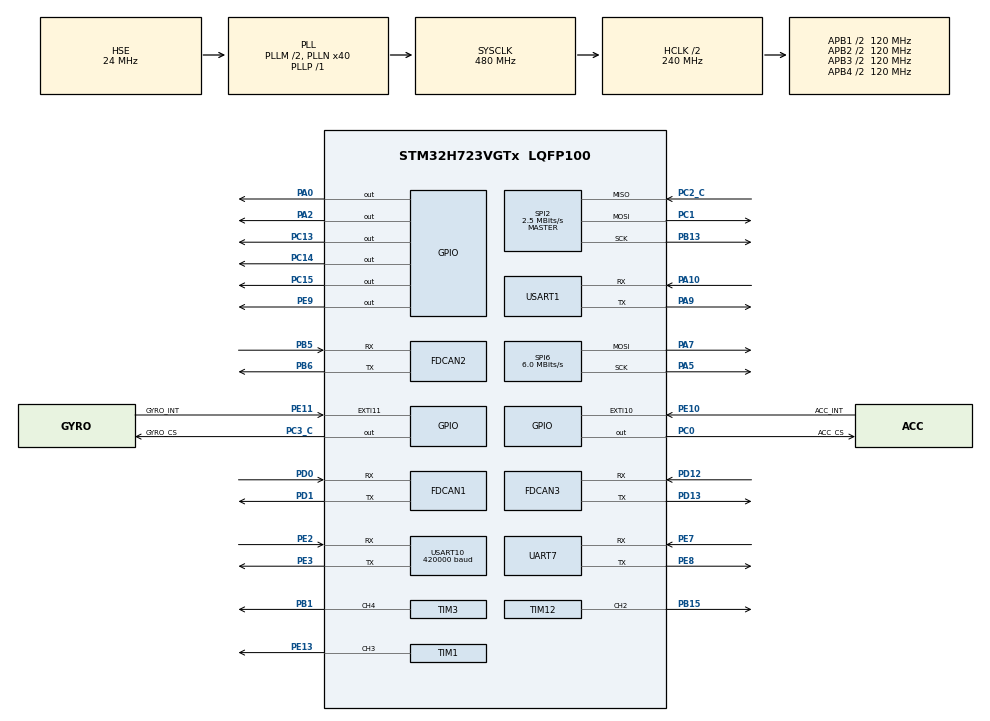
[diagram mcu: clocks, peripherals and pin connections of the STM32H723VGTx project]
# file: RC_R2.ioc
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CORTEX_M7.default_mode_Activation=1
Dma.Request0=USART10_RX
Dma.Request1=SPI2_RX
Dma.Request2=SPI2_TX
Dma.SPI2_RX.1.Direction=DMA_PERIPH_TO_MEMORY
Dma.SPI2_RX.1.EventEnable=DISABLE
Dma.SPI2_RX.1.FIFOMode=DMA_FIFOMODE_DISABLE
Dma.SPI2_RX.1.Instance=DMA1_Stream1
Dma.SPI2_RX.1.MemDataAlignment=DMA_MDATAALIGN_BYTE
Dma.SPI2_RX.1.MemInc=DMA_MINC_ENABLE
Dma.SPI2_RX.1.Mode=DMA_NORMAL
Dma.SPI2_RX.1.PeriphDataAlignment=DMA_PDATAALIGN_BYTE
Dma.SPI2_RX.1.PeriphInc=DMA_PINC_DISABLE
Dma.SPI2_RX.1.Polarity=HAL_DMAMUX_REQ_GEN_RISING
Dma.SPI2_RX.1.Priority=DMA_PRIORITY_HIGH
Dma.SPI2_RX.1.RequestNumber=1
Dma.SPI2_RX.1.SignalID=NONE
Dma.SPI2_RX.1.SyncEnable=DISABLE
Dma.SPI2_RX.1.SyncPolarity=HAL_DMAMUX_SYNC_NO_EVENT
Dma.SPI2_RX.1.SyncRequestNumber=1
Dma.SPI2_RX.1.SyncSignalID=NONE
Dma.SPI2_TX.2.Direction=DMA_MEMORY_TO_PERIPH
Dma.SPI2_TX.2.EventEnable=DISABLE
Dma.SPI2_TX.2.FIFOMode=DMA_FIFOMODE_DISABLE
Dma.SPI2_TX.2.Instance=DMA1_Stream2
Dma.SPI2_TX.2.MemDataAlignment=DMA_MDATAALIGN_BYTE
Dma.SPI2_TX.2.MemInc=DMA_MINC_ENABLE
Dma.SPI2_TX.2.Mode=DMA_NORMAL
Dma.SPI2_TX.2.PeriphDataAlignment=DMA_PDATAALIGN_BYTE
Dma.SPI2_TX.2.PeriphInc=DMA_PINC_DISABLE
Dma.SPI2_TX.2.Polarity=HAL_DMAMUX_REQ_GEN_RISING
Dma.SPI2_TX.2.Priority=DMA_PRIORITY_VERY_HIGH
Dma.SPI2_TX.2.RequestNumber=1
Dma.SPI2_TX.2.SignalID=NONE
Dma.SPI2_TX.2.SyncEnable=DISABLE
Dma.SPI2_TX.2.SyncPolarity=HAL_DMAMUX_SYNC_NO_EVENT
Dma.SPI2_TX.2.SyncRequestNumber=1
Dma.SPI2_TX.2.SyncSignalID=NONE
Dma.USART10_RX.0.Direction=DMA_PERIPH_TO_MEMORY
Dma.USART10_RX.0.EventEnable=DISABLE
Dma.USART10_RX.0.FIFOMode=DMA_FIFOMODE_DISABLE
Dma.USART10_RX.0.Instance=DMA1_Stream0
Dma.USART10_RX.0.MemDataAlignment=DMA_MDATAALIGN_BYTE
Dma.USART10_RX.0.MemInc=DMA_MINC_ENABLE
Dma.USART10_RX.0.Mode=DMA_NORMAL
Dma.USART10_RX.0.PeriphDataAlignment=DMA_PDATAALIGN_BYTE
Dma.USART10_RX.0.PeriphInc=DMA_PINC_DISABLE
Dma.USART10_RX.0.Polarity=HAL_DMAMUX_REQ_GEN_RISING
Dma.USART10_RX.0.Priority=DMA_PRIORITY_HIGH
Dma.USART10_RX.0.RequestNumber=1
Dma.USART10_RX.0.SignalID=NONE
Dma.USART10_RX.0.SyncEnable=DISABLE
Dma.USART10_RX.0.SyncPolarity=HAL_DMAMUX_SYNC_NO_EVENT
Dma.USART10_RX.0.SyncRequestNumber=1
Dma.USART10_RX.0.SyncSignalID=NONE
FDCAN1.CalculateBaudRateNominal=1000000
FDCAN1.CalculateTimeBitNominal=1000
FDCAN1.CalculateTimeQuantumNominal=25.0
FDCAN1.DataPrescaler=1
FDCAN1.DataSyncJumpWidth=2
FDCAN1.DataTimeSeg1=13
FDCAN1.DataTimeSeg2=2
FDCAN1.ExtFiltersNbr=4
FDCAN1.FrameFormat=FDCAN_FRAME_FD_BRS
FDCAN1.NominalPrescaler=3
FDCAN1.NominalSyncJumpWidth=20
FDCAN1.NominalTimeSeg1=29
FDCAN1.NominalTimeSeg2=10
FDCAN1.ProtocolException=ENABLE
FDCAN1.RxBuffersNbr=2
FDCAN1.RxFifo0ElmtsNbr=10
FDCAN1.RxFifo1ElmtsNbr=10
FDCAN1.StdFiltersNbr=4
FDCAN1.TxBuffersNbr=10
FDCAN1.TxEventsNbr=10
FDCAN1.TxFifoQueueElmtsNbr=10
FDCAN2.CalculateBaudRateNominal=1000000
FDCAN2.CalculateTimeBitNominal=1000
FDCAN2.CalculateTimeQuantumNominal=25.0
FDCAN2.DataPrescaler=1
FDCAN2.DataSyncJumpWidth=2
FDCAN2.DataTimeSeg1=13
FDCAN2.DataTimeSeg2=2
FDCAN2.ExtFiltersNbr=4
FDCAN2.FrameFormat=FDCAN_FRAME_FD_BRS
FDCAN2.MessageRAMOffset=853
FDCAN2.NominalPrescaler=3
FDCAN2.NominalSyncJumpWidth=20
FDCAN2.NominalTimeSeg1=29
FDCAN2.NominalTimeSeg2=10
FDCAN2.ProtocolException=ENABLE
FDCAN2.RxBuffersNbr=2
FDCAN2.RxFifo0ElmtsNbr=10
FDCAN2.RxFifo1ElmtsNbr=10
FDCAN2.StdFiltersNbr=4
FDCAN2.TxBuffersNbr=10
FDCAN2.TxEventsNbr=10
FDCAN2.TxFifoQueueElmtsNbr=10
FDCAN3.AutoRetransmission=ENABLE
FDCAN3.CalculateBaudRateNominal=1000000
FDCAN3.CalculateTimeBitNominal=1000
FDCAN3.CalculateTimeQuantumNominal=25.0
FDCAN3.DataPrescaler=3
FDCAN3.DataSyncJumpWidth=10
FDCAN3.DataTimeSeg1=29
FDCAN3.DataTimeSeg2=10
FDCAN3.MessageRAMOffset=1706
FDCAN3.NominalPrescaler=3
FDCAN3.NominalSyncJumpWidth=10
FDCAN3.NominalTimeSeg1=29
FDCAN3.NominalTimeSeg2=10
FDCAN3.RxFifo0ElmtsNbr=16
FDCAN3.StdFiltersNbr=1
FDCAN3.TxFifoQueueElmtsNbr=32
Mcu.Family=STM32H7
Mcu.Name=STM32H723VGTx
Mcu.Package=LQFP100
NVIC.DMA1_Stream0_IRQn=true\:1\:0\:true\:false\:true\:false\:true\:true
NVIC.DMA1_Stream1_IRQn=true\:2\:0\:true\:false\:true\:false\:true\:true
NVIC.DMA1_Stream2_IRQn=true\:0\:0\:false\:false\:true\:false\:true\:true
NVIC.FDCAN1_IT0_IRQn=true\:0\:0\:false\:false\:true\:true\:true\:true
NVIC.FDCAN1_IT1_IRQn=true\:0\:0\:false\:false\:true\:true\:true\:true
NVIC.FDCAN2_IT0_IRQn=true\:0\:0\:false\:false\:true\:true\:true\:true
NVIC.FDCAN2_IT1_IRQn=true\:0\:0\:false\:false\:true\:true\:true\:true
NVIC.FDCAN3_IT0_IRQn=true\:0\:0\:false\:false\:true\:true\:true\:true
NVIC.FDCAN3_IT1_IRQn=true\:0\:0\:false\:false\:true\:true\:true\:true
NVIC.FDCAN_CAL_IRQn=true\:0\:0\:false\:false\:true\:true\:true\:true
NVIC.PriorityGroup=NVIC_PRIORITYGROUP_4
NVIC.SPI2_IRQn=true\:5\:0\:true\:false\:true\:false\:true\:true
NVIC.UART7_IRQn=true\:0\:0\:false\:false\:true\:true\:true\:true
NVIC.USART10_IRQn=true\:0\:0\:false\:false\:true\:true\:true\:true
NVIC.USART1_IRQn=true\:0\:0\:false\:false\:true\:true\:true\:true
PA0.GPIO_PuPd=GPIO_PULLDOWN
PA0.Signal=GPIO_Output
PA10.Mode=Asynchronous
PA10.Signal=USART1_RX
PA13(JTMS/SWDIO).Mode=Serial_Wire
PA13(JTMS/SWDIO).Signal=DEBUG_JTMS-SWDIO
PA14(JTCK/SWCLK).Mode=Serial_Wire
PA14(JTCK/SWCLK).Signal=DEBUG_JTCK-SWCLK
PA2.Signal=GPIO_Output
PA5.Mode=TX_Only_Simplex_Unidirect_Master
PA5.Signal=SPI6_SCK
PA7.Mode=TX_Only_Simplex_Unidirect_Master
PA7.Signal=SPI6_MOSI
PA9.Mode=Asynchronous
PA9.Signal=USART1_TX
PB1.Signal=S_TIM3_CH4
PB13.Mode=Full_Duplex_Master
PB13.Signal=SPI2_SCK
PB15.Signal=S_TIM12_CH2
PB5.Mode=FDCAN_Activate
PB5.Signal=FDCAN2_RX
PB6.Mode=FDCAN_Activate
PB6.Signal=FDCAN2_TX
PC0.GPIO_Label=ACC_CS
PC0.GPIO_Speed=GPIO_SPEED_FREQ_VERY_HIGH
PC0.PinState=GPIO_PIN_SET
PC0.Signal=GPIO_Output
PC1.Mode=Full_Duplex_Master
PC1.Signal=SPI2_MOSI
PC13.PinState=GPIO_PIN_SET
PC13.Signal=GPIO_Output
PC14-OSC32_IN.PinState=GPIO_PIN_SET
PC14-OSC32_IN.Signal=GPIO_Output
PC15-OSC32_OUT.PinState=GPIO_PIN_SET
PC15-OSC32_OUT.Signal=GPIO_Output
PC2_C.Mode=Full_Duplex_Master
PC2_C.Signal=SPI2_MISO
PC3_C.GPIO_Label=GYRO_CS
PC3_C.GPIO_Speed=GPIO_SPEED_FREQ_VERY_HIGH
PC3_C.PinState=GPIO_PIN_SET
PC3_C.Signal=GPIO_Output
PD0.Mode=FDCAN_Activate
PD0.Signal=FDCAN1_RX
PD1.Mode=FDCAN_Activate
PD1.Signal=FDCAN1_TX
PD12.Mode=FDCAN_Activate
PD12.Signal=FDCAN3_RX
PD13.Mode=FDCAN_Activate
PD13.Signal=FDCAN3_TX
PE10.GPIO_Label=ACC_INT
PE10.Signal=GPXTI10
PE11.GPIO_Label=GYRO_INT
PE11.Signal=GPXTI11
PE13.Signal=S_TIM1_CH3
PE2.Mode=Asynchronous
PE2.Signal=USART10_RX
PE3.Mode=Asynchronous
PE3.Signal=USART10_TX
PE7.Mode=Asynchronous
PE7.Signal=UART7_RX
PE8.Mode=Asynchronous
PE8.Signal=UART7_TX
PE9.GPIO_PuPd=GPIO_PULLDOWN
PE9.GPIO_Speed=GPIO_SPEED_FREQ_HIGH
PE9.PinState=GPIO_PIN_RESET
PE9.Signal=GPIO_Output
PH0-OSC_IN.Mode=HSE-External-Oscillator
PH0-OSC_IN.Signal=RCC_OSC_IN
PH1-OSC_OUT.Mode=HSE-External-Oscillator
PH1-OSC_OUT.Signal=RCC_OSC_OUT
ProjectManager.HeapSize=0x200
ProjectManager.StackSize=0x400
ProjectManager.TargetToolchain=CMake
RCC.ADCFreq_Value=100000000
RCC.APB1Freq_Value=120000000
RCC.APB2Freq_Value=120000000
RCC.APB3Freq_Value=120000000
RCC.APB4Freq_Value=120000000
RCC.CortexFreq_Value=480000000
RCC.D1PPRE=RCC_APB3_DIV2
RCC.D2PPRE1=RCC_APB1_DIV2
RCC.D2PPRE2=RCC_APB2_DIV2
RCC.D3PPRE=RCC_APB4_DIV2
RCC.DIVM1=2
RCC.DIVM2=12
RCC.DIVM3=24
RCC.DIVN1=40
RCC.DIVN2=100
RCC.DIVN3=160
RCC.DIVP1=1
RCC.DIVQ1=4
RCC.HCLKFreq_Value=240000000
RCC.HPRE=RCC_HCLK_DIV2
RCC.HSE_VALUE=24000000
RCC.PLL2FRACN=0
RCC.PLL3FRACN=0
RCC.PLLFRACN=0
RCC.PLLSourceVirtual=RCC_PLLSOURCE_HSE
RCC.SPI123CLockSelection=RCC_SPI123CLKSOURCE_PLL3
RCC.SPI6CLockSelection=RCC_SPI6CLKSOURCE_HSE
RCC.SYSCLKFreq_VALUE=480000000
RCC.SYSCLKSource=RCC_SYSCLKSOURCE_PLLCLK
RCC.USBFreq_Value=120000000
SH.S_TIM12_CH2.0=TIM12_CH2,PWM Generation2 CH2
SH.S_TIM1_CH3.0=TIM1_CH3,PWM Generation3 CH3
SH.S_TIM3_CH4.0=TIM3_CH4,PWM Generation4 CH4
SPI2.BaudRatePrescaler=SPI_BAUDRATEPRESCALER_32
SPI2.CLKPhase=SPI_PHASE_2EDGE
SPI2.CLKPolarity=SPI_POLARITY_HIGH
SPI2.CalculateBaudRate=2.5 MBits/s
SPI2.DataSize=SPI_DATASIZE_8BIT
SPI2.Direction=SPI_DIRECTION_2LINES
SPI2.Mode=SPI_MODE_MASTER
SPI2.VirtualType=VM_MASTER
SPI6.BaudRatePrescaler=SPI_BAUDRATEPRESCALER_4
SPI6.CLKPhase=SPI_PHASE_2EDGE
SPI6.CalculateBaudRate=6.0 MBits/s
SPI6.DataSize=SPI_DATASIZE_8BIT
SPI6.Direction=SPI_DIRECTION_2LINES_TXONLY
SPI6.Mode=SPI_MODE_MASTER
SPI6.VirtualType=VM_MASTER
STMicroelectronics.X-CUBE-ALGOBUILD.1.4.0.LibraryCcDSPOoLibraryJjDSPOoLibrary=true
TIM1.AutoReloadPreload=TIM_AUTORELOAD_PRELOAD_ENABLE
TIM1.Channel-PWM\ Generation3\ CH3=TIM_CHANNEL_3
TIM1.Period=20000-1
TIM1.Prescaler=240-1
TIM12.AutoReloadPreload=TIM_AUTORELOAD_PRELOAD_ENABLE
TIM12.Channel-PWM\ Generation2\ CH2=TIM_CHANNEL_2
TIM12.Period=2000-1
TIM12.Prescaler=6000-1
TIM3.AutoReloadPreload=TIM_AUTORELOAD_PRELOAD_ENABLE
TIM3.Channel-PWM\ Generation4\ CH4=TIM_CHANNEL_4
TIM3.Period=10000-1
TIM3.Prescaler=24-1
USART1.VirtualMode-Asynchronous=VM_ASYNC
USART10.BaudRate=420000
USART10.VirtualMode=VM_ASYNC
VP_MEMORYMAP_VS_MEMORYMAP.Mode=CurAppReg
VP_STMicroelectronics.X-CUBE-ALGOBUILD_VS_DSPOoLibraryJjLibrary_1.4.0_1.4.0.Mode=DSPOoLibraryJjLibrary
VP_TIM1_VS_ClockSourceINT.Mode=Internal
board=custom

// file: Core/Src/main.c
/* USER CODE BEGIN Header */
/**
  ******************************************************************************
  * @file           : main.c
  * @brief          : Main program body
  ******************************************************************************
  * @attention
  *
  * Copyright (c) 2026 STMicroelectronics.
  * All rights reserved.
  *
  * This software is licensed under terms that can be found in the LICENSE file
  * in the root directory of this software component.
  * If no LICENSE file comes with this software, it is provided AS-IS.
  *
  ******************************************************************************
  */
/* USER CODE END Header */
#include "main.h"
#include "dma.h"
#include "fdcan.h"
#include "spi.h"
#include "tim.h"
#include "usart.h"
#include "gpio.h"

/* USER CODE BEGIN Includes */
#include "DJI_Motor.h"
#include "serial.h"
#include "elrs.h"
#include "bsp_fdcan.h"
#include "chassis.h"
#include "Arm.h"
#include "dm_motor_ctrl.h"
#include "ws2812.h"
/* USER CODE END Includes */

void SystemClock_Config(void);
static void MPU_Config(void);

int main(void)
{

  /* MPU Configuration--------------------------------------------------------*/
  MPU_Config();

  /* MCU Configuration--------------------------------------------------------*/

  /* Reset of all peripherals, Initializes the Flash interface and the Systick. */
  HAL_Init();

  /* Configure the system clock */
  SystemClock_Config();

  /* Initialize all configured peripherals */
  MX_GPIO_Init();
  MX_DMA_Init();
  MX_USART10_UART_Init();
  MX_FDCAN1_Init();
  MX_USART1_UART_Init();
  MX_FDCAN2_Init();
  MX_FDCAN3_Init();
  MX_SPI2_Init();
  MX_TIM3_Init();
  MX_TIM12_Init();
  MX_SPI6_Init();
  MX_TIM1_Init();
  MX_UART7_Init();
  /* USER CODE BEGIN 2 */
  Serial_Init();
  bsp_fdcan_set_baud(&hfdcan1, CAN_CLASS, CAN_BR_1M);
  bsp_fdcan_set_baud(&hfdcan2, CAN_CLASS, CAN_BR_1M);
  bsp_fdcan_set_baud(&hfdcan3, CAN_CLASS, CAN_BR_1M);
  bsp_can_init(&hfdcan1);
  bsp_can_init(&hfdcan2);
  bsp_can_init(&hfdcan3);

  DJI_Motor_Init();
  ELRS_Init();
  Arm_Init();
  Chassis_Init(&Chassis);
  /* USER CODE END 2 */

  /* Infinite loop */
  /* USER CODE BEGIN WHILE */

  //RGB控制
  WS2812_Ctrl(3, 4, 5);

  while (1)
  {
    Arm_Task(remoter.key.SA, remoter.joy.l_x, -remoter.var.S1*0.0314,-remoter.var.S2*0.0628,remoter.joy.r_x*0.0157);
    //mit_ctrl(motor[Motor2].hcan, &motor[Motor2], motor[Motor2].id,remoter.var.S1*0.0314,0,9,2,0);
    //pos_ctrl(motor[Motor2].hcan, motor[Motor2].id,3.14,1);
    //spd_ctrl(motor[Motor2].hcan, motor[Motor2].id,2);
    //DJI_Motor_SendCurrent_Ex(&hfdcan1, MOTOR_2006_GROUP2, 500, 0, 0, 0);
    //Serial_Printf("%d,%f\n", motor_feedback[MOTOR_2006_ID5_INDEX].loop / 36,motor_feedback[MOTOR_2006_ID5_INDEX].angle);
    //Serial_Printf("%f,%f\n", target_speed, actual_speed);//2006
    Chassis_Task(&Chassis,remoter.key.SA,remoter.joy.l_x,remoter.joy.l_y,remoter.joy.r_y,remoter.key.SE);
    HAL_Delay(10);
    //DJI_Motor_SendCurrent_Ex(&hfdcan1,MOTOR_3508_GROUP1, 0, 0, 0, 0);
    /* USER CODE END WHILE */

  }
}

void SystemClock_Config(void)
{
  RCC_OscInitTypeDef RCC_OscInitStruct = {0};
  RCC_ClkInitTypeDef RCC_ClkInitStruct = {0};

  /** Supply configuration update enable
  */
  HAL_PWREx_ConfigSupply(PWR_LDO_SUPPLY);

  /** Configure the main internal regulator output voltage
  */
  __HAL_PWR_VOLTAGESCALING_CONFIG(PWR_REGULATOR_VOLTAGE_SCALE0);

  while(!__HAL_PWR_GET_FLAG(PWR_FLAG_VOSRDY)) {}

  /** Initializes the RCC Oscillators according to the specified parameters
  * in the RCC_OscInitTypeDef structure.
  */
  RCC_OscInitStruct.OscillatorType = RCC_OSCILLATORTYPE_HSE;
  RCC_OscInitStruct.HSEState = RCC_HSE_ON;
  RCC_OscInitStruct.PLL.PLLState = RCC_PLL_ON;
  RCC_OscInitStruct.PLL.PLLSource = RCC_PLLSOURCE_HSE;
  RCC_OscInitStruct.PLL.PLLM = 2;
  RCC_OscInitStruct.PLL.PLLN = 40;
  RCC_OscInitStruct.PLL.PLLP = 1;
  RCC_OscInitStruct.PLL.PLLQ = 4;
  RCC_OscInitStruct.PLL.PLLR = 2;
  RCC_OscInitStruct.PLL.PLLRGE = RCC_PLL1VCIRANGE_3;
  RCC_OscInitStruct.PLL.PLLVCOSEL = RCC_PLL1VCOWIDE;
  RCC_OscInitStruct.PLL.PLLFRACN = 0;
  if (HAL_RCC_OscConfig(&RCC_OscInitStruct) != HAL_OK)
  {
    Error_Handler();
  }

  /** Initializes the CPU, AHB and APB buses clocks
  */
  RCC_ClkInitStruct.ClockType = RCC_CLOCKTYPE_HCLK|RCC_CLOCKTYPE_SYSCLK
                              |RCC_CLOCKTYPE_PCLK1|RCC_CLOCKTYPE_PCLK2
                              |RCC_CLOCKTYPE_D3PCLK1|RCC_CLOCKTYPE_D1PCLK1;
  RCC_ClkInitStruct.SYSCLKSource = RCC_SYSCLKSOURCE_PLLCLK;
  RCC_ClkInitStruct.SYSCLKDivider = RCC_SYSCLK_DIV1;
  RCC_ClkInitStruct.AHBCLKDivider = RCC_HCLK_DIV2;
  RCC_ClkInitStruct.APB3CLKDivider = RCC_APB3_DIV2;
  RCC_ClkInitStruct.APB1CLKDivider = RCC_APB1_DIV2;
  RCC_ClkInitStruct.APB2CLKDivider = RCC_APB2_DIV2;
  RCC_ClkInitStruct.APB4CLKDivider = RCC_APB4_DIV2;

  if (HAL_RCC_ClockConfig(&RCC_ClkInitStruct, FLASH_LATENCY_3) != HAL_OK)
  {
    Error_Handler();
  }
}

 /* MPU Configuration */

void MPU_Config(void)
{
  MPU_Region_InitTypeDef MPU_InitStruct = {0};

  /* Disables the MPU */
  HAL_MPU_Disable();

  /** Initializes and configures the Region and the memory to be protected
  */
  MPU_InitStruct.Enable = MPU_REGION_ENABLE;
  MPU_InitStruct.Number = MPU_REGION_NUMBER0;
  MPU_InitStruct.BaseAddress = 0x0;
  MPU_InitStruct.Size = MPU_REGION_SIZE_4GB;
  MPU_InitStruct.SubRegionDisable = 0x87;
  MPU_InitStruct.TypeExtField = MPU_TEX_LEVEL0;
  MPU_InitStruct.AccessPermission = MPU_REGION_NO_ACCESS;
  MPU_InitStruct.DisableExec = MPU_INSTRUCTION_ACCESS_DISABLE;
  MPU_InitStruct.IsShareable = MPU_ACCESS_SHAREABLE;
  MPU_InitStruct.IsCacheable = MPU_ACCESS_NOT_CACHEABLE;
  MPU_InitStruct.IsBufferable = MPU_ACCESS_NOT_BUFFERABLE;

  HAL_MPU_ConfigRegion(&MPU_InitStruct);
  /* Enables the MPU */
  HAL_MPU_Enable(MPU_PRIVILEGED_DEFAULT);

}

void Error_Handler(void)
{
  __disable_irq();
  while (1)
  {
  }
}
